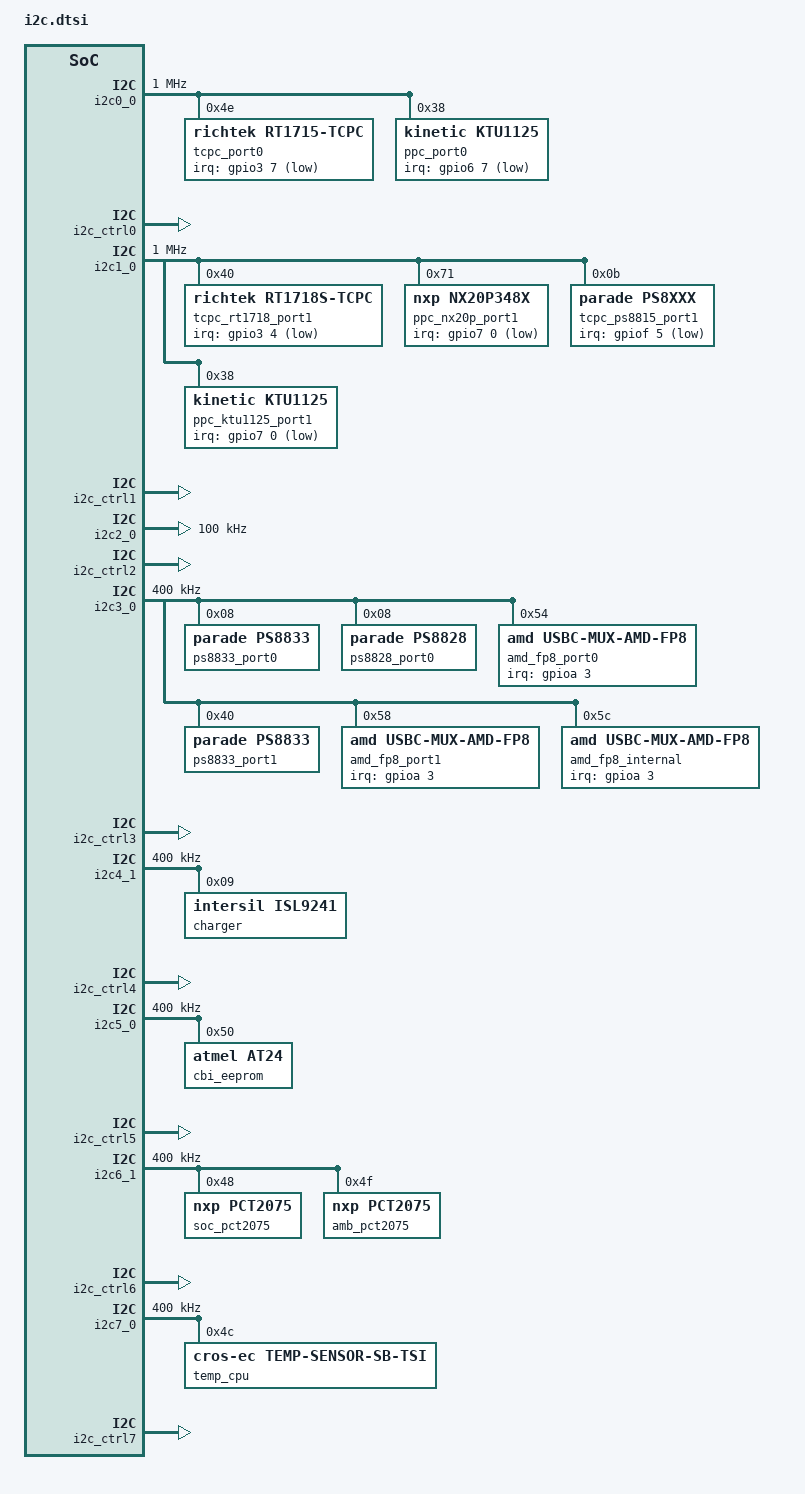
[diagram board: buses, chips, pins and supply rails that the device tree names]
/* Copyright 2023 The ChromiumOS Authors
 * Use of this source code is governed by a BSD-style license that can be
 * found in the LICENSE file.
 */

 #include <dt-bindings/usb_pd_tcpm.h>
 #include <dt-bindings/usbc_mux.h>

/ {
	aliases {
		i2c-0 = &i2c0_0;
		i2c-1 = &i2c1_0;
		i2c-2 = &i2c2_0;
		i2c-3 = &i2c3_0;
		i2c-4 = &i2c4_1;
		i2c-5 = &i2c5_0;
		i2c-6 = &i2c6_0;
		i2c-7 = &i2c7_0;
	};

	named-i2c-ports {
		compatible = "named-i2c-ports";

		i2c_tcpc0: tcpc0 {
			i2c-port = <&i2c0_0>;
			enum-names = "I2C_PORT_TCPC0";
		};

		i2c_tcpc1: tcpc1 {
			i2c-port = <&i2c1_0>;
			enum-names = "I2C_PORT_TCPC1";
		};

		battery {
			i2c-port = <&i2c2_0>;
			remote-port = <0>;
			enum-names = "I2C_PORT_BATTERY";
		};

		usb-mux {
			i2c-port = <&i2c3_0>;
			enum-names = "I2C_PORT_USB_MUX";
		};

		i2c_charger: charger {
			i2c-port = <&i2c4_1>;
			enum-names = "I2C_PORT_CHARGER";
		};

		eeprom {
			i2c-port = <&i2c5_0>;
			enum-names = "I2C_PORT_EEPROM";
		};

		i2c_sensor: sensor {
			i2c-port = <&i2c6_1>;
			enum-names = "I2C_PORT_SENSOR";
		};

		i2c_soc_thermal: soc-thermal {
			i2c-port = <&i2c7_0>;
			enum-names = "I2C_PORT_THERMAL_AP";
		};
	};


};

&i2c0_0 {
	status = "okay";
	label = "I2C_TCPC0";
	clock-frequency = <I2C_BITRATE_FAST_PLUS>;
	pinctrl-0 = <&i2c0_0_sda_scl_gpb4_b5>;
	pinctrl-names = "default";

	tcpc_port0: rt1715@4e {
		compatible = "richtek,rt1715-tcpc";
		reg = <0x4e>;
		tcpc-flags = <(
			TCPC_FLAGS_TCPCI_REV2_0 |
			TCPC_FLAGS_TCPCI_REV2_0_NO_VSAFE0V)>;
		irq-gpios = <&gpio3 7 GPIO_ACTIVE_LOW>;
	};

	ppc_port0: ktu1125@38 {
		compatible = "kinetic,ktu1125";
		status = "okay";
		reg = <0x38>;
		/* a duplicate of the <&gpio_usb_c0_ppc_int_odl> node in
		 * "named-gpios". This is the Zephyr preferred style,
		 * the "named-gpios" node will be dealt with at a later date.
		 */
		irq-gpios = <&gpio6 7 (GPIO_PULL_UP | GPIO_ACTIVE_LOW)>;
	};
};

&i2c_ctrl0 {
	status = "okay";
};

&i2c1_0 {
	status = "okay";
	label = "I2C_TCPC1";
	clock-frequency = <I2C_BITRATE_FAST_PLUS>;
	pinctrl-0 = <&i2c1_0_sda_scl_gp87_90>;
	pinctrl-names = "default";

	tcpc_rt1718_port1: rt1718s-tcpc@40 {
		compatible = "richtek,rt1718s-tcpc";
		reg = <0x40>;
		tcpc-flags = <(
			TCPC_FLAGS_ALERT_OD |
			TCPC_FLAGS_CONTROL_VCONN |
			TCPC_FLAGS_CONTROL_FRS)>;
		/* a duplicate of the <&gpio_usb_c1_tcpc_int_odl> node in
		 * "named-gpios". This is the Zephyr preferred style,
		 * the "named-gpios" node will be dealt with at a later date.
		 */
		irq-gpios = <&gpio3 4 GPIO_ACTIVE_LOW>;
		is-alt;
	};

	ppc_nx20p_port1: nx20p348x@71 {
		compatible = "nxp,nx20p348x";
		status = "okay";
		reg = <0x71>;
		/* a duplicate of the <&gpio_usb_c1_ppc_int_odl> node in
		 * "named-gpios". This is the Zephyr preferred style,
		 * the "named-gpios" node will be dealt with at a later date.
		 */
		irq-gpios = <&gpio7 0 GPIO_ACTIVE_LOW>;
		is-alt;
	};

	tcpc_ps8815_port1: ps8xxx@b {
		compatible = "parade,ps8xxx";
		reg = <0xb>;
		tcpc-flags = <(
			TCPC_FLAGS_TCPCI_REV2_0 |
			TCPC_FLAGS_TCPCI_REV2_0_NO_VSAFE0V |
			TCPC_FLAGS_CONTROL_VCONN |
			TCPC_FLAGS_CONTROL_FRS)>;
		irq-gpios = <&gpiof 5 GPIO_ACTIVE_LOW>;
		is-alt;
	};

	ppc_ktu1125_port1: ktu1125@38 {
		compatible = "kinetic,ktu1125";
		status = "okay";
		reg = <0x38>;
		/* a duplicate of the <&gpio_usb_c1_ppc_int_odl> node in
		 * "named-gpios". This is the Zephyr preferred style,
		 * the "named-gpios" node will be dealt with at a later date.
		 */
		irq-gpios = <&gpio7 0 GPIO_ACTIVE_LOW>;
		is-alt;
	};
};

&i2c_ctrl1 {
	status = "okay";
};

&i2c2_0 {
	status = "okay";
	label = "I2C_BATTERY";
	clock-frequency = <I2C_BITRATE_STANDARD>;
	pinctrl-0 = <&i2c2_0_sda_scl_gp91_92>;
	pinctrl-names = "default";
};

&i2c_ctrl2 {
	status = "okay";
};

&i2c3_0 {
	status = "okay";
	label = "I2C_USB_MUX";
	clock-frequency = <I2C_BITRATE_FAST>;
	pinctrl-0 = <&i2c3_0_sda_scl_gpd0_d1>;
	pinctrl-names = "default";

	ps8833_port0: ps8833@10 {
		compatible = "parade,ps8833";
		status = "okay";
		reg = <0x08>;
	};

	ps8828_port0: ps8828@08 {
		compatible = "parade,ps8828";
		status = "okay";
		reg = <0x08>;
	};

	amd_fp8_port0: amd_fp8@54 {
		compatible = "amd,usbc-mux-amd-fp8";
		status = "okay";
		reg = <0x54>;
		irq-gpios = <&gpioa 3 GPIO_ACTIVE_HIGH>;
	};

	ps8833_port1: ps8833@40 {
		compatible = "parade,ps8833";
		status = "okay";
		reg = <0x40>;
	};

	amd_fp8_port1: amd_fp8@58 {
		compatible = "amd,usbc-mux-amd-fp8";
		status = "okay";
		reg = <0x58>;
		irq-gpios = <&gpioa 3 GPIO_ACTIVE_HIGH>;
	};

	/*
	 * This isn't controlled by the EC, but all muxes might have to be
	 * checked to clear the interrupt line.
	 */
	amd_fp8_internal: amd_fp8@5c {
		compatible = "amd,usbc-mux-amd-fp8";
		status = "okay";
		reg = <0x5c>;
		irq-gpios = <&gpioa 3 GPIO_ACTIVE_HIGH>;
		fixed = <USB_PD_MUX_USB_ENABLED>;
	};
};

&i2c_ctrl3 {
	status = "okay";
};

&i2c4_1 {
	status = "okay";
	label = "I2C_CHARGER";
	clock-frequency = <I2C_BITRATE_FAST>;
	pinctrl-0 = <&i2c4_1_sda_scl_gpf2_f3>;
	pinctrl-names = "default";

	charger: isl9241@9 {
		compatible = "intersil,isl9241";
		status = "okay";
		reg = <0x9>;
	};
};

&i2c_ctrl4 {
	status = "okay";
};

&i2c5_0 {
	status = "okay";
	label = "I2C_EEPROM";
	clock-frequency = <I2C_BITRATE_FAST>;
	pinctrl-0 = <&i2c5_0_sda_scl_gp33_36>;
	pinctrl-names = "default";

	cbi_eeprom: eeprom@50 {
		compatible = "atmel,at24";
		reg = <0x50>;
		size = <2048>;
		pagesize = <16>;
		address-width = <8>;
		timeout = <5>;
	};
};

&i2c_ctrl5 {
	status = "okay";
};

&i2c6_1 {
	status = "okay";
	label = "I2C_SENSOR";
	clock-frequency = <I2C_BITRATE_FAST>;
	pinctrl-0 = <&i2c6_1_sda_scl_gpe3_e4>;
	pinctrl-names = "default";

	soc_pct2075: soc-pct2075@48 {
		compatible = "nxp,pct2075";
		reg = <0x48>;
	};

	amb_pct2075: amb-pct2075@4f {
		compatible = "nxp,pct2075";
		reg = <0x4f>;
	};
};

&i2c_ctrl6 {
	status = "okay";
};

&i2c7_0 {
	status = "okay";
	label = "I2C_THERMAL_AP";
	clock-frequency = <I2C_BITRATE_FAST>;
	pinctrl-0 = <&i2c7_0_sda_scl_gpb2_b3>;
	pinctrl-names = "default";

	temp_cpu: cpu@4c {
		compatible = "cros-ec,temp-sensor-sb-tsi";
		reg = <0x4c>;
	};
};

&i2c_ctrl7 {
	status = "okay";
};
